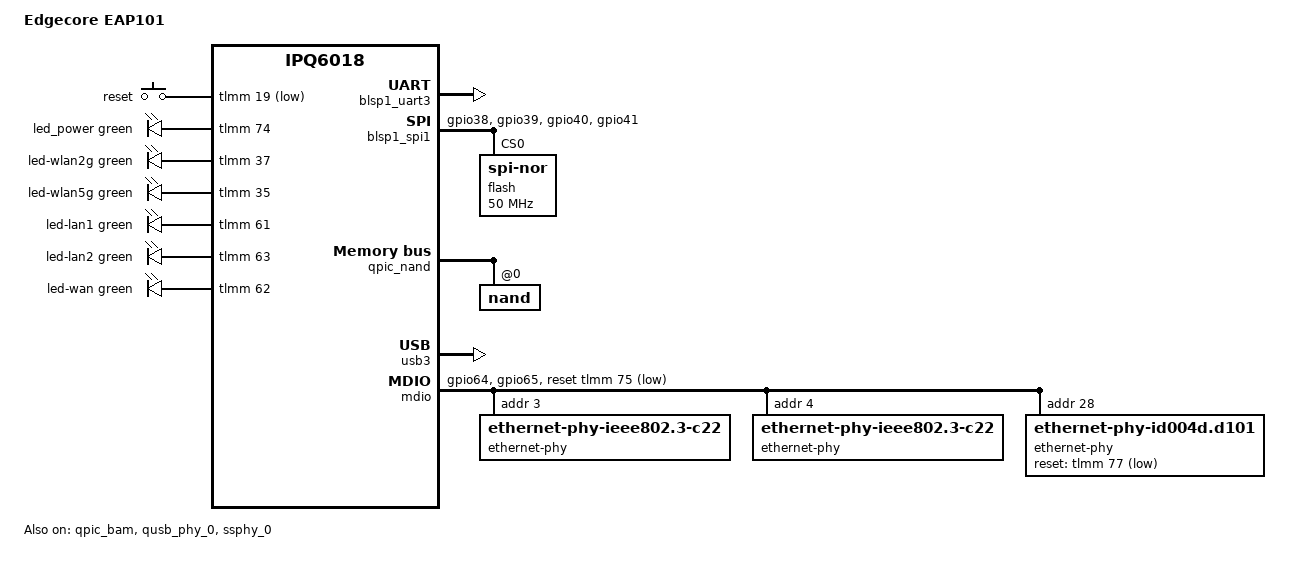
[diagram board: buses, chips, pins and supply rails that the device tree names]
/dts-v1/;

#include "ipq6018.dtsi"
#include <dt-bindings/gpio/gpio.h>
#include <dt-bindings/leds/common.h>
#include <dt-bindings/input/input.h>

/ {
	model = "Edgecore EAP101";
	compatible = "edgecore,eap101", "qcom,ipq6018";

	aliases {
		serial0 = &blsp1_uart3;
	};

	chosen {
		stdout-path = "serial0:115200n8";
	};

	keys {
		compatible = "gpio-keys";

		reset {
			label = "reset";
			gpios = <&tlmm 19 GPIO_ACTIVE_LOW>;
			linux,code = <KEY_RESTART>;
		};
	};

	leds {
		compatible = "gpio-leds";

		led_power: led-power {
			gpios = <&tlmm 74 GPIO_ACTIVE_HIGH>;
			color = <LED_COLOR_ID_GREEN>;
			function = LED_FUNCTION_POWER;
			default-state = "on";
		};

		led-wlan2g {
			gpios = <&tlmm 37 GPIO_ACTIVE_HIGH>;
			color = <LED_COLOR_ID_GREEN>;
			function = LED_FUNCTION_WLAN;
			function-enumerator = <2>;
			default-state = "off";
		};

		led-wlan5g {
			gpios = <&tlmm 35 GPIO_ACTIVE_HIGH>;
			color = <LED_COLOR_ID_GREEN>;
			function = LED_FUNCTION_WLAN;
			function-enumerator = <5>;
			default-state = "off";
		};

		led-lan1 {
			gpios = <&tlmm 61 GPIO_ACTIVE_HIGH>;
			color = <LED_COLOR_ID_GREEN>;
			function = LED_FUNCTION_LAN;
			function-enumerator = <1>;
			default-state = "off";
		};

		led-lan2 {
			gpios = <&tlmm 63 GPIO_ACTIVE_HIGH>;
			color = <LED_COLOR_ID_GREEN>;
			function = LED_FUNCTION_LAN;
			function-enumerator = <2>;
			default-state = "off";
		};

		led-wan {
			gpios = <&tlmm 62 GPIO_ACTIVE_HIGH>;
			color = <LED_COLOR_ID_GREEN>;
			function = LED_FUNCTION_WAN;
			default-state = "off";
		};
	};
};

&blsp1_uart3 {
	pinctrl-0 = <&serial_3_pins>;
	pinctrl-names = "default";
	status = "okay";
};

&blsp1_spi1 {
	pinctrl-0 = <&spi_0_pins>;
	pinctrl-names = "default";
	status = "okay";

	flash@0 {
		#address-cells = <1>;
		#size-cells = <1>;
		reg = <0>;
		compatible = "jedec,spi-nor";
		spi-max-frequency = <50000000>;
	};
};

/*&blsp1_i2c6 {
	status = "okay";

	pmic@69 {
		compatible = "mps,mp5496";
		reg = <0x69>;

		regulators {
			ldo2 {
				regulator-name = "ldo2";
				regulator-min-microvolt = <1800000>;
				regulator-max-microvolt = <3300000>;
			};
		};
	};
};*/

&tlmm {
	spi_0_pins: spi-0-pins {
		pins = "gpio38", "gpio39", "gpio40", "gpio41";
		function = "blsp0_spi";
		drive-strength = <8>;
		bias-pull-down;
	};

	mdio_pins: mdio-pins {
		mdc {
			pins = "gpio64";
			function = "mdc";
			drive-strength = <8>;
			bias-pull-up;
		};

		mdio {
			pins = "gpio65";
			function = "mdio";
			drive-strength = <8>;
			bias-pull-up;
		};
	};
};

&qpic_bam {
	status = "okay";
};

&qpic_nand {
	status = "okay";

	nand@0 {
		reg = <0>;
		#address-cells = <1>;
		#size-cells = <1>;

		nand-ecc-strength = <4>;
		nand-ecc-step-size = <512>;
		nand-bus-width = <8>;
	};
};

&qusb_phy_0 {
	status = "okay";
};

&ssphy_0 {
	status = "okay";
};

&usb3 {
	status = "okay";
};

&mdio {
	status = "okay";

	pinctrl-0 = <&mdio_pins>;
	pinctrl-names = "default";
	reset-gpios = <&tlmm 75 GPIO_ACTIVE_LOW>;

	ethernet-phy@3 {
		compatible ="ethernet-phy-ieee802.3-c22";
		reg = <3>;
	};

	ethernet-phy@4 {
		compatible ="ethernet-phy-ieee802.3-c22";
		reg = <4>;
	};

	ethernet-phy@28 {
		compatible = "ethernet-phy-id004d.d101";
		reg = <28>;
		reset-gpios = <&tlmm 77 GPIO_ACTIVE_LOW>;
	};
};
